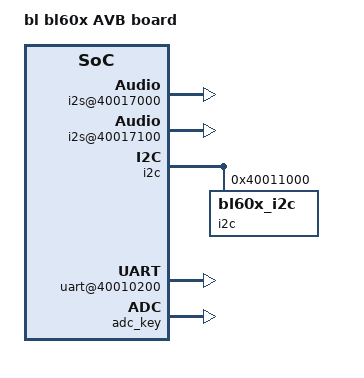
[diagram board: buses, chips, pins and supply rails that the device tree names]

/*
    echo "tc_wifi.  dts -> dtb"
    dtc -I dts -O dtb -o tc_wifi.dtb tc_wifi.dts

    echo "tc_wifi.  dtb -> c"
    xxd -i tc_wifi.dtb tc_wifi.c
*/

/dts-v1/;

/ {
    model = "bl bl60x AVB board";
    compatible = "bl,bl60x-sample", "bl,bl60x-common";
    #address-cells = <1>;
    #size-cells = <1>;

    ipc {
        #address-cells = <1>;
        #size-cells = <1>;
        ipc@4001C000 {
            status = "disable";
            reg = <0x4001C000 0x100>;
        };
    };
    i2s {
        #address-cells = <1>;
        #size-cells = <1>;
        i2s@40017000 {
            status = "okay";
            compatible = "bl60x_i2s";
            reg = <0x40017000 0x100>;
            mclk_only = "okay";
            pin {
                mclk = <11>;
            };
        };
        i2s@40017100 {
            status = "okay";
            compatible = "bl60x_i2s";
            reg = <0x40017100 0x100>;
            mclk_only = "disable";
            pin {
                bclk = <12>;
                fs = <29>;
                do = <30>;
                di = <31>;
            };
        };
    };
    i2c {
        #address-cells = <1>;
        #size-cells = <1>;
        i2c@40011000 {
            status = "okay";
            compatible = "bl60x_i2c";
            reg = <0x40011000 0x100>;
            pin {
                scl = <32>;
                sda = <13>;
            };
            devices {
                list_addr = <0x18 0x21>;
                list_driver = "i2c_es8311", "i2c_gc0308>";
            };
        };
        i2c@40011100 {
            status = "disable";
            compatible = "bl60x_i2c";
            reg = <0x40011100 0x100>;
            pin {
                /*empty here*/
            };
        };
    };
    mjpeg {
        #address-cells = <1>;
        #size-cells = <1>;
        mjpeg@40016000 {
            status = "okay";
            compatible = "bl60x_mjpeg";
            reg = <0x40016000 0x100>;
        };
    };
    timer {
        #address-cells = <1>;
        #size-cells = <1>;
        timer@40014000 {
            status = "disable";
            compatible = "bl60x_timer";
            reg = <0x40014000 0x100>;
        };
        timer@40014100 {
            status = "disable";
            compatible = "bl60x_timer";
            reg = <0x40014100 0x100>;
        };
    };
    pwm {
        #address-cells = <1>;
        #size-cells = <1>;
        pwm@40012000 {
            status = "disable";
            compatible = "bl60x_pwm";
            reg = <0x40012000 0x100>;
            pin {
                /*empty here*/
            };
        };
    };
    uart {
        #address-cells = <1>;
        #size-cells = <1>;
        uart@40010000 {
            status = "disable";
            id = <0>;
            compatible = "bl60x_uart";
            path = "/dev/ttyS0";
            reg = <0x40010000 0x100>;
            baudrate = <115200>;
            pin {
                /*empty here*/
            };
            feature {
                rts = "disable";
                cts = "disable";
                rx = "disable";
                tx = "disable";
            };
        };
        uart@40010100 {
            status = "disable";
            id = <1>;
            compatible = "bl60x_uart";
            path = "/dev/ttyS1";
            reg = <0x40010100 0x100>;
            baudrate = <115200>;
            pin {
                /*empty here*/
            };
            feature {
                rts = "disable";
                cts = "disable";
                rx = "disable";
                tx = "disable";
            };
        };
        uart@40010200 {
            status = "okay";
            id = <2>;
            compatible = "bl60x_uart";
            path = "/dev/ttyS2";
            reg = <0x40010200 0x100>;
            baudrate = <5000000>;
            pin {
                tx = <14>;
                rx = <7>;
            };
            feature {
                tx = "okay";
                rx = "okay";
                cts = "disable";
                rts = "disable";
            };
        };
    };
    spi {
        #address-cells = <1>;
        #size-cells = <1>;
        spi@4000F000 {
            status = "disable";
            reg = <0x4000F000 0x100>;/* 4KB */
        };
    };
    gpip {
        #address-cells = <1>;
        #size-cells = <1>;
        adc_key {
            status = "okay";
            pin = <9>;
            interrupt  = <3>;
            key_vol = <0 100 400 300 500>;
            key_pcb = "SW1", "SW2", "SW3", "SW4","SW5";
            key_event = "Usr1", "Usr2", "Start", "Up", "Down";
            key_raw = <1 2 3 4 5>;
        };
    };
    pdm {
        #address-cells = <1>;
        #size-cells = <1>;
        pdm@4000C000 {
            status = "disable";
            reg = <0x4000C000 0x100>;/* 256B */
        };
    };
    cam {
        #address-cells = <1>;
        #size-cells = <1>;
        cam@4000B000 {
            status = "okay";
            compatible = "bl60x_cam";
            reg = <0x4000B000 0x1000>;/* 4KB */
            pin {
                PIX_CLK = <0>;
                FRAME_VLD = <1>;
                LINE_VLD = <2>;
                PIX_DAT0 = <3>;
                PIX_DAT1 = <4>;
                PIX_DAT2 = <5>;
                PIX_DAT3 = <6>;
                PIX_DAT4 = <25>;
                PIX_DAT5 = <26>;
                PIX_DAT6 = <27>;
                PIX_DAT7 = <28>;
                CAM_PWDN = <15>;
                CAM_REF_CLK = <24>;
            };
            feature {
                mode = "HARDWARE";
            };
            conf {
                sensor = "auto";
            };
        };
    };
    qspi {
        #address-cells = <1>;
        #size-cells = <1>;
        qspi@4000A000 {
            status = "disable";
            reg = <0x4000A000 0x1000>;/* 4KB */
        };
    };
    sdh {
        #address-cells = <1>;
        #size-cells = <1>;
        sdh@40003000 {
            status = "okay";
            compatible = "bl60x_sdh";
            reg = <0x40003000 0x1000>;/* 4KB */
            pin {
                clk = <16>;
                cmd = <17>;
                dat0 = <18>;
                dat1 = <19>;
                dat2 = <20>;
                dat3 = <21>;
            };
        };
    };
    wifi {
        #address-cells = <1>;
        #size-cells = <1>;
        region {
            country_code = <86>;
        };
        mac {
            sta_mac_addr = [C8 43 57 82 73 40];
            ap_mac_addr = [C8 43 57 82 73 02];
        };
        ap {
            ssid = "BL60x_Camera03";
            pwd = "1234567890a";
            ap_channel = <11>;
            auto_chan_detect = "disable";
        };
        brd_rf {
            xtal = <41 41 0 63 63>;
            pwr_table = <4 3 3 186>,
                        <4 3 4 176>,
                        <4 3 5 167>,
                        <3 3 0 159>,
                        <3 3 1 149>,
                        <3 3 2 140>,
                        <3 3 3 129>,
                        <3 3 4 119>,
                        <3 3 5 110>,
                        <2 3 0 101>,
                        <2 3 1 91>,
                        <2 3 2 82>,
                        <2 3 3 72>,
                        <2 3 4 62>,
                        <2 3 5 52>,
                        <1 3 3 10>;
            channel_div_table = <0x14F00000
                                 0x14FB1C71
                                 0x150638E3
                                 0x15115555
                                 0x151C71C7
                                 0x15278E38
                                 0x1532AAAA
                                 0x153DC71C
                                 0x1548E38E
                                 0x15540000
                                 0x155F1C71
                                 0x156A38E3
                                 0x15755555
                                 0x15900000
                                 0x15C00000>;
            channel_cnt_table = <0xa780 0xa7d8
                                 0xa831 0xa88a
                                 0xa8e3 0xa93c
                                 0xa995 0xa9ee
                                 0xaa47 0xaaa0
                                 0xaaf8 0xab51
                                 0xabaa 0xac80>;
            lo_fcal_div = <0x800>;
        };
    };
};
